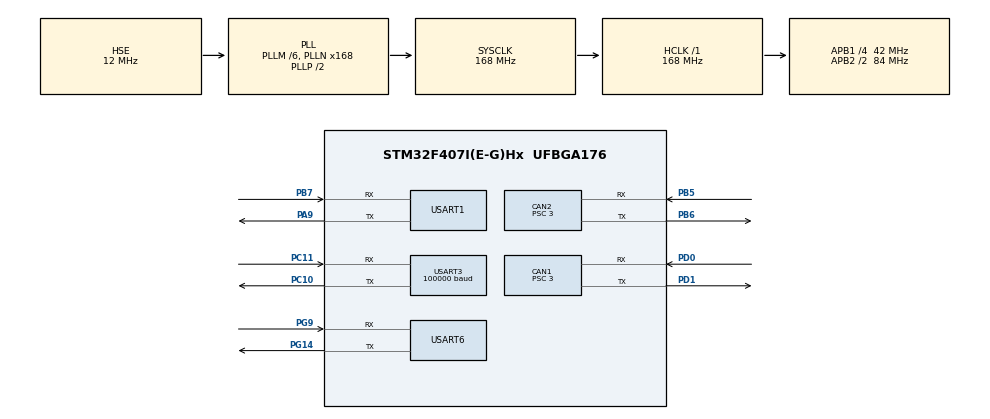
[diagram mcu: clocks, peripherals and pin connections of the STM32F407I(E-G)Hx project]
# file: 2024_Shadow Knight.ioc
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CAN1.BS1=CAN_BS1_10TQ
CAN1.BS2=CAN_BS2_3TQ
CAN1.CalculateBaudRate=1000000
CAN1.CalculateTimeBit=1000
CAN1.CalculateTimeQuantum=71.42857142857143
CAN1.Prescaler=3
CAN2.BS1=CAN_BS1_10TQ
CAN2.BS2=CAN_BS2_3TQ
CAN2.CalculateBaudRate=1000000
CAN2.CalculateTimeBit=1000
CAN2.CalculateTimeQuantum=71.42857142857143
CAN2.Prescaler=3
Dma.Request0=USART3_RX
Dma.Request1=USART1_RX
Dma.USART1_RX.1.Direction=DMA_PERIPH_TO_MEMORY
Dma.USART1_RX.1.FIFOMode=DMA_FIFOMODE_DISABLE
Dma.USART1_RX.1.Instance=DMA2_Stream2
Dma.USART1_RX.1.MemDataAlignment=DMA_MDATAALIGN_BYTE
Dma.USART1_RX.1.MemInc=DMA_MINC_ENABLE
Dma.USART1_RX.1.Mode=DMA_CIRCULAR
Dma.USART1_RX.1.PeriphDataAlignment=DMA_PDATAALIGN_BYTE
Dma.USART1_RX.1.PeriphInc=DMA_PINC_DISABLE
Dma.USART1_RX.1.Priority=DMA_PRIORITY_HIGH
Dma.USART3_RX.0.Direction=DMA_PERIPH_TO_MEMORY
Dma.USART3_RX.0.FIFOMode=DMA_FIFOMODE_DISABLE
Dma.USART3_RX.0.Instance=DMA1_Stream1
Dma.USART3_RX.0.MemDataAlignment=DMA_MDATAALIGN_BYTE
Dma.USART3_RX.0.MemInc=DMA_MINC_ENABLE
Dma.USART3_RX.0.Mode=DMA_CIRCULAR
Dma.USART3_RX.0.PeriphDataAlignment=DMA_PDATAALIGN_BYTE
Dma.USART3_RX.0.PeriphInc=DMA_PINC_DISABLE
Dma.USART3_RX.0.Priority=DMA_PRIORITY_VERY_HIGH
Mcu.Family=STM32F4
Mcu.Name=STM32F407I(E-G)Hx
Mcu.Package=UFBGA176
NVIC.DMA1_Stream1_IRQn=true\:0\:0\:false\:false\:true\:false\:true\:true
NVIC.DMA2_Stream2_IRQn=true\:0\:0\:false\:false\:true\:false\:true\:true
NVIC.PriorityGroup=NVIC_PRIORITYGROUP_4
NVIC.USART1_IRQn=true\:0\:0\:false\:false\:true\:true\:true\:true
NVIC.USART3_IRQn=true\:0\:0\:false\:false\:true\:true\:true\:true
PA13.Mode=Serial_Wire
PA13.Signal=SYS_JTMS-SWDIO
PA14.Mode=Serial_Wire
PA14.Signal=SYS_JTCK-SWCLK
PA9.Mode=Asynchronous
PA9.Signal=USART1_TX
PB5.Mode=CAN_Activate
PB5.Signal=CAN2_RX
PB6.Mode=CAN_Activate
PB6.Signal=CAN2_TX
PB7.Mode=Asynchronous
PB7.Signal=USART1_RX
PC10.Mode=Asynchronous
PC10.Signal=USART3_TX
PC11.Mode=Asynchronous
PC11.Signal=USART3_RX
PC14-OSC32_IN.Mode=LSE-External-Oscillator
PC14-OSC32_IN.Signal=RCC_OSC32_IN
PC15-OSC32_OUT.Mode=LSE-External-Oscillator
PC15-OSC32_OUT.Signal=RCC_OSC32_OUT
PD0.Mode=CAN_Activate
PD0.Signal=CAN1_RX
PD1.Mode=CAN_Activate
PD1.Signal=CAN1_TX
PG14.Mode=Asynchronous
PG14.Signal=USART6_TX
PG9.Mode=Asynchronous
PG9.Signal=USART6_RX
PH0-OSC_IN.Mode=HSE-External-Oscillator
PH0-OSC_IN.Signal=RCC_OSC_IN
PH1-OSC_OUT.Mode=HSE-External-Oscillator
PH1-OSC_OUT.Signal=RCC_OSC_OUT
ProjectManager.HeapSize=0x200
ProjectManager.StackSize=0x400
ProjectManager.TargetToolchain=EWARM V8.50
RCC.48MHZClocksFreq_Value=84000000
RCC.AHBFreq_Value=168000000
RCC.APB1CLKDivider=RCC_HCLK_DIV4
RCC.APB1Freq_Value=42000000
RCC.APB1TimFreq_Value=84000000
RCC.APB2CLKDivider=RCC_HCLK_DIV2
RCC.APB2Freq_Value=84000000
RCC.APB2TimFreq_Value=168000000
RCC.CortexFreq_Value=168000000
RCC.HCLKFreq_Value=168000000
RCC.HSE_VALUE=12000000
RCC.HSI_VALUE=16000000
RCC.PLLM=6
RCC.PLLN=168
RCC.PLLSourceVirtual=RCC_PLLSOURCE_HSE
RCC.SYSCLKFreq_VALUE=168000000
RCC.SYSCLKSource=RCC_SYSCLKSOURCE_PLLCLK
RCC.VCOOutputFreq_Value=336000000
TIM1.Prescaler=16799
TIM8.Prescaler=16799
USART1.VirtualMode=VM_ASYNC
USART3.BaudRate=100000
USART3.VirtualMode=VM_ASYNC
USART6.VirtualMode=VM_ASYNC
VP_TIM1_VS_ClockSourceINT.Mode=Internal
VP_TIM8_VS_ClockSourceINT.Mode=Internal
board=custom

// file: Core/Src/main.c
/* USER CODE BEGIN Header */
/**
  ******************************************************************************
  * @file           : main.c
  * @brief          : Main program body
  ******************************************************************************
  * @attention
  *
  * Copyright (c) 2024 STMicroelectronics.
  * All rights reserved.
  *
  * This software is licensed under terms that can be found in the LICENSE file
  * in the root directory of this software component.
  * If no LICENSE file comes with this software, it is provided AS-IS.
  *
  ******************************************************************************
  */
/* USER CODE END Header */
#include "main.h"
#include "can.h"
#include "dma.h"
#include "tim.h"
#include "usart.h"
#include "gpio.h"

/* USER CODE BEGIN Includes */
#include "CAN_PID_User.h"
#include "pid.h"
#include "mot_move.h"
#include "wit_c_sdk.h"
#include "bsp_rc.h"
#include "remote_control.h"
#include "IMU.h"
#include "IMU_correct.h"
#include "stdio.h"

/* USER CODE END Includes */

void SystemClock_Config(void);

/* USER CODE BEGIN 0 */
extern uint8_t ucRxBuffer[121];
extern motor_measure_t motor_can1[8];
extern motor_measure_t motor_can2[8];
extern float x_dog,y_dog;
extern float gp;
extern float pos_agle[8];
extern uint8_t DATA[121];

/* USER CODE END 0 */

int main(void)
{

  /* MCU Configuration--------------------------------------------------------*/

  /* Reset of all peripherals, Initializes the Flash interface and the Systick. */
  HAL_Init();

  /* Configure the system clock */
  SystemClock_Config();

  /* Initialize all configured peripherals */
  MX_GPIO_Init();
  MX_DMA_Init();
  MX_CAN1_Init();
  MX_CAN2_Init();
  MX_TIM1_Init();
  MX_USART1_UART_Init();
  MX_USART3_UART_Init();
  MX_USART6_UART_Init();
  MX_TIM8_Init();
  /* USER CODE BEGIN 2 */

		//EnableFPU();
		HAL_CAN_Start(&hcan1);
		HAL_CAN_ActivateNotification(&hcan1,CAN_IT_RX_FIFO0_MSG_PENDING);
		HAL_CAN_Start(&hcan2);
		HAL_CAN_ActivateNotification(&hcan2,CAN_IT_RX_FIFO0_MSG_PENDING);
		filter1_init();
		filter2_init();
		pid_chassis_init();
    remote_control_init();

		IMU_correct_dog();

//	__HAL_UART_ENABLE_IT(&huart1, UART_IT_RXNE);
	WitInit(WIT_PROTOCOL_NORMAL,0x50);
	HAL_UART_Receive_IT(&huart1,ucRxBuffer,121);
	HAL_UART_Receive_DMA(&huart1,ucRxBuffer,121);

	HAL_TIM_Base_Start_IT(&htim1);
	HAL_TIM_Base_Start_IT(&htim8);

  /* USER CODE END 2 */

  /* Infinite loop */
  while (1)
  {

    /* USER CODE BEGIN 3 */

		HAL_Delay(5);

  }
  /* USER CODE END 3 */
}

void SystemClock_Config(void)
{
  RCC_OscInitTypeDef RCC_OscInitStruct = {0};
  RCC_ClkInitTypeDef RCC_ClkInitStruct = {0};

  /** Configure the main internal regulator output voltage
  */
  __HAL_RCC_PWR_CLK_ENABLE();
  __HAL_PWR_VOLTAGESCALING_CONFIG(PWR_REGULATOR_VOLTAGE_SCALE1);

  /** Initializes the RCC Oscillators according to the specified parameters
  * in the RCC_OscInitTypeDef structure.
  */
  RCC_OscInitStruct.OscillatorType = RCC_OSCILLATORTYPE_HSE;
  RCC_OscInitStruct.HSEState = RCC_HSE_ON;
  RCC_OscInitStruct.PLL.PLLState = RCC_PLL_ON;
  RCC_OscInitStruct.PLL.PLLSource = RCC_PLLSOURCE_HSE;
  RCC_OscInitStruct.PLL.PLLM = 6;
  RCC_OscInitStruct.PLL.PLLN = 168;
  RCC_OscInitStruct.PLL.PLLP = RCC_PLLP_DIV2;
  RCC_OscInitStruct.PLL.PLLQ = 4;
  if (HAL_RCC_OscConfig(&RCC_OscInitStruct) != HAL_OK)
  {
    Error_Handler();
  }

  /** Initializes the CPU, AHB and APB buses clocks
  */
  RCC_ClkInitStruct.ClockType = RCC_CLOCKTYPE_HCLK|RCC_CLOCKTYPE_SYSCLK
                              |RCC_CLOCKTYPE_PCLK1|RCC_CLOCKTYPE_PCLK2;
  RCC_ClkInitStruct.SYSCLKSource = RCC_SYSCLKSOURCE_PLLCLK;
  RCC_ClkInitStruct.AHBCLKDivider = RCC_SYSCLK_DIV1;
  RCC_ClkInitStruct.APB1CLKDivider = RCC_HCLK_DIV4;
  RCC_ClkInitStruct.APB2CLKDivider = RCC_HCLK_DIV2;

  if (HAL_RCC_ClockConfig(&RCC_ClkInitStruct, FLASH_LATENCY_5) != HAL_OK)
  {
    Error_Handler();
  }
	   HAL_SYSTICK_Config(HAL_RCC_GetHCLKFreq()/1000);  //设置每次定时时长为0.8ms

    HAL_SYSTICK_CLKSourceConfig(SYSTICK_CLKSOURCE_HCLK);

    /* SysTick_IRQn interrupt configuration */
    HAL_NVIC_SetPriority(SysTick_IRQn, 15, 0);
}

void Error_Handler(void)
{
  __disable_irq();
  while (1)
  {
  }
}
